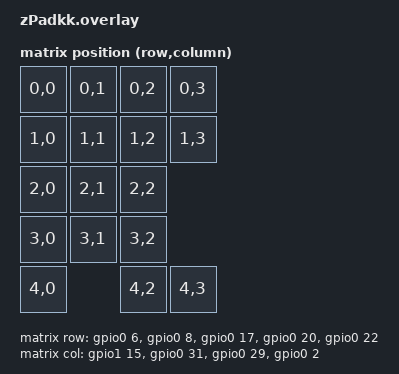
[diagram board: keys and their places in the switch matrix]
/ {
    matrix {
        compatible = "zmk,matrix-transform";
        row-gpios = <&gpio0 6 (GPIO_PULL_UP | GPIO_ACTIVE_LOW)>,
                    <&gpio0 8 (GPIO_PULL_UP | GPIO_ACTIVE_LOW)>,
                    <&gpio0 17 (GPIO_PULL_UP | GPIO_ACTIVE_LOW)>,
                    <&gpio0 20 (GPIO_PULL_UP | GPIO_ACTIVE_LOW)>,
                    <&gpio0 22 (GPIO_PULL_UP | GPIO_ACTIVE_LOW)>;
        col-gpios = <&gpio1 15 GPIO_ACTIVE_LOW>,
                    <&gpio0 31 GPIO_ACTIVE_LOW>,
                    <&gpio0 29 GPIO_ACTIVE_LOW>,
                    <&gpio0 2 GPIO_ACTIVE_LOW>;
        diode-direction = "COL2ROW";
    };

    reset_button: reset_button_0 {
        gpios = <&gpio0 24 GPIO_ACTIVE_LOW>;
        label = "Reset Button";
    };
     default_transform: default_transform {
        compatible = "zmk,matrix-transform";
        columns = <5>;
        rows = <4>;

        map = <
            RC(0,0) RC(0,1) RC(0,2) RC(0,3)       // NUMLOCK, SLASH, ASTERISK, MINUS
            RC(1,0) RC(1,1) RC(1,2) RC(1,3)       // 9, 8, 7, +
            RC(2,0) RC(2,1) RC(2,2) RC_UNUSED     // PLUS, 6, 5
            RC(3,0) RC(3,1) RC(3,2) RC_UNUSED     // 3, 2, 1
            RC(4,0) RC_UNUSED RC(4,2) RC(4,3)     // ENTER, DOT, 0
        >;
    };
};


